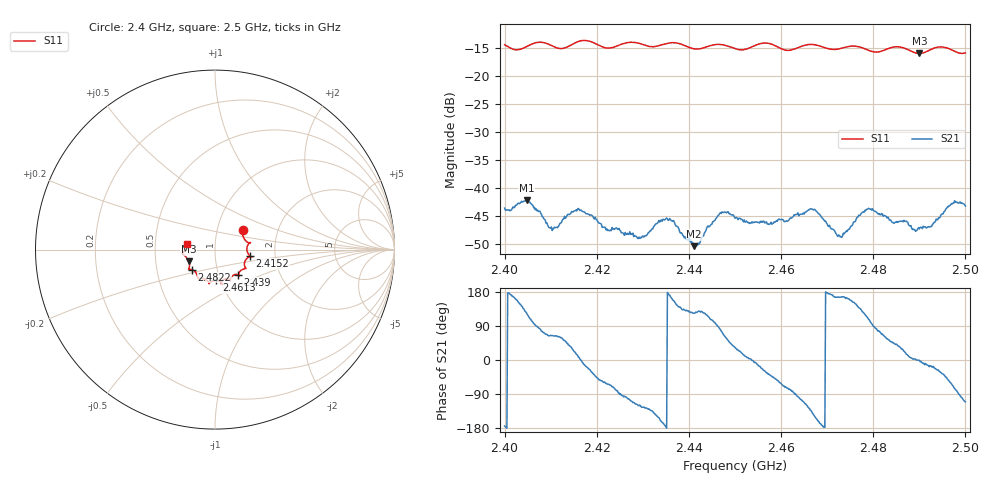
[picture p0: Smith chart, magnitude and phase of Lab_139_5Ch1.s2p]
# Hz S RI R 50
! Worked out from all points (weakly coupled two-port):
!   601 points, 2.4 GHz to 2.5 GHz, reference 50 ohm
!   highest |S21| = -42.08 dB at 2.4048 GHz (marker M1); lowest = -50.3 dB at 2.4412 GHz (marker M2)
!   lowest |S11| = -15.9 dB at 2.49 GHz (marker M3), VSWR 1.38, Z = 36.9 - j4.86 ohm
!   |S11| at or under -10 dB: start of sweep to end of sweep
!   S12 and S22 are empty: the file has one direction only
!   S11 on the Smith chart (normalised r, x): 2.4 GHz: 1.33, +0.31; 2.4152 GHz: 1.48, -0.11; 2.439 GHz: 1.24, -0.36; 2.4613 GHz: 0.96, -0.34; 2.4822 GHz: 0.76, -0.17; 2.5 GHz: 0.72, +0.05
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2.4e9  0.1561 0.1116  -0.00663 -0.000647  0 0  0 0
2.404833e9  0.1809 0.0408  -0.00422 0.00665  0 0  0 0
2.410167e9  0.1862 0.0306  0.00196 0.00407  0 0  0 0
2.415167e9  0.1948 -0.0359  0.00585 0.00228  0 0  0 0
2.416667e9  0.2044 -0.0418  0.00638 -0.000223  0 0  0 0
2.4225e9  0.1666 -0.0654  0.00186 -0.00383  0 0  0 0
2.429167e9  0.1671 -0.1059  -0.00188 -0.00315  0 0  0 0
2.433333e9  0.1329 -0.1327  -0.00438 -0.0024  0 0  0 0
2.436333e9  0.1352 -0.1478  -0.00488 0.00162  0 0  0 0
2.439e9  0.1281 -0.1395  -0.00244 0.00267  0 0  0 0
2.441167e9  0.107 -0.1402  -0.00167 0.00255  0 0  0 0
2.446833e9  0.0853 -0.1731  0.00102 0.00599  0 0  0 0
2.45e9  0.0687 -0.1634  0.00454 0.00294  0 0  0 0
2.461333e9  0.00813 -0.1707  0.00136 -0.0049  0 0  0 0
2.466667e9  -0.033 -0.1904  -0.00475 -0.00447  0 0  0 0
2.472833e9  -0.0755 -0.1605  -0.00357 0.000916  0 0  0 0
2.478667e9  -0.0994 -0.1419  -0.00255 0.00595  0 0  0 0
2.482167e9  -0.128 -0.112  0.00235 0.00511  0 0  0 0
2.483333e9  -0.1393 -0.1102  0.00319 0.00438  0 0  0 0
2.49e9  -0.1469 -0.0641  0.00434 -6.51e-05  0 0  0 0
2.497333e9  -0.1699 -0.00793  0.00267 -0.0069  0 0  0 0
2.5e9  -0.1585 0.0335  -0.00242 -0.00651  0 0  0 0
